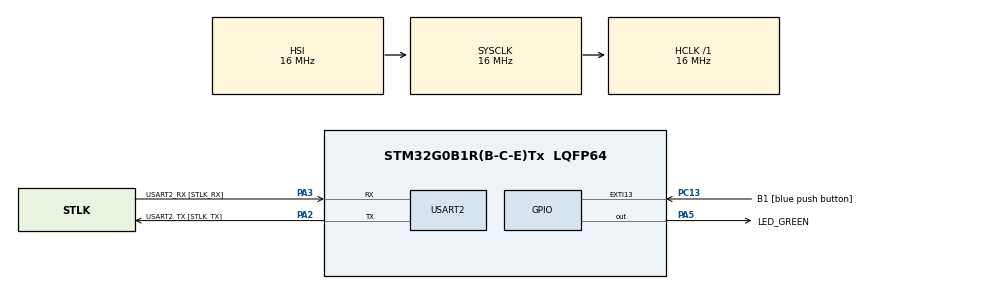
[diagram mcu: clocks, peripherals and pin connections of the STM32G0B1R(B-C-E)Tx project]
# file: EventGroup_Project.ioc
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FREERTOS.Events01=MyEventFlags,Dynamic,NULL
FREERTOS.Tasks01=defaultTask,24,128,StartDefaultTask,Default,NULL,Dynamic,NULL,NULL;BitSetterTask1,8,128,StartBitSetterTask1,Default,NULL,Dynamic,NULL,NULL;BitSetterTask2,8,128,StartBitSetterTask2,Default,NULL,Dynamic,NULL,NULL;BitReaderTask,40,128,StartBitReaderTask,Default,NULL,Dynamic,NULL,NULL
FREERTOS.configTOTAL_HEAP_SIZE=15360
FREERTOS.configUSE_NEWLIB_REENTRANT=1
Mcu.Family=STM32G0
Mcu.Name=STM32G0B1R(B-C-E)Tx
Mcu.Package=LQFP64
NVIC.TIM6_DAC_LPTIM1_IRQn=true\:3\:0\:false\:false\:true\:false\:false\:true\:true
NVIC.TimeBase=TIM6_DAC_LPTIM1_IRQn
NVIC.TimeBaseIP=TIM6
PA13.GPIO_Label=TMS
PA13.Mode=Serial_Wire
PA13.Signal=SYS_SWDIO
PA14-BOOT0.GPIO_Label=TCK
PA14-BOOT0.Mode=Serial_Wire
PA14-BOOT0.Signal=SYS_SWCLK
PA2.GPIO_Label=USART2_TX [STLK_TX]
PA2.Mode=Asynchronous
PA2.Signal=USART2_TX
PA3.GPIO_Label=USART2_RX [STLK_RX]
PA3.Mode=Asynchronous
PA3.Signal=USART2_RX
PA5.GPIO_Label=LED_GREEN
PA5.GPIO_Speed=GPIO_SPEED_FREQ_HIGH
PA5.Signal=GPIO_Output
PC13.GPIO_Label=B1 [blue push button]
PC13.Signal=GPXTI13
PC14-OSC32_IN\ (PC14).Mode=LSE-External-Oscillator
PC14-OSC32_IN\ (PC14).Signal=RCC_OSC32_IN
PC15-OSC32_OUT\ (PC15).Mode=LSE-External-Oscillator
PC15-OSC32_OUT\ (PC15).Signal=RCC_OSC32_OUT
PF0-OSC_IN\ (PF0).GPIO_Label=MCO
PF0-OSC_IN\ (PF0).Mode=HSE-External-Clock-Source
PF0-OSC_IN\ (PF0).Signal=RCC_OSC_IN
ProjectManager.HeapSize=0x200
ProjectManager.StackSize=0x400
ProjectManager.TargetToolchain=STM32CubeIDE
RCC.AHBFreq_Value=16000000
RCC.CortexFreq_Value=16000000
RCC.EXTERNAL_CLOCK_VALUE=12288000
RCC.HCLKFreq_Value=16000000
RCC.HSE_VALUE=8000000
RCC.HSI48_VALUE=48000000
RCC.HSI_VALUE=16000000
RCC.SYSCLKFreq_VALUE=16000000
RCC.USBFreq_Value=48000000
RCC.VCOOutputFreq_Value=128000000
USART2.VirtualMode-Asynchronous=VM_ASYNC
VP_FREERTOS_VS_CMSIS_V2.Mode=CMSIS_V2
VP_SYS_VS_DBSignals.Mode=DisableDeadBatterySignals
VP_SYS_VS_tim6.Mode=TIM6
board=NUCLEO-G0B1RE

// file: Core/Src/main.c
/* USER CODE BEGIN Header */
/**
 ******************************************************************************
 * @file           : main.c
 * @brief          : Main program body
 ******************************************************************************
 * @attention
 *
 * Copyright (c) 2026 STMicroelectronics.
 * All rights reserved.
 *
 * This software is licensed under terms that can be found in the LICENSE file
 * in the root directory of this software component.
 * If no LICENSE file comes with this software, it is provided AS-IS.
 *
 ******************************************************************************
 */
/* USER CODE END Header */
#include "main.h"
#include "cmsis_os.h"

/* USER CODE BEGIN Includes */
#include <stdio.h>
#include <string.h>
/* USER CODE END Includes */

/* USER CODE BEGIN PD */
#define EVENT_BIT0		(1U << 0)
#define EVENT_BIT1		(1U << 1)
#define EVENT_BIT2		(1U << 2)
/* USER CODE END PD */

UART_HandleTypeDef huart2;

/* Definitions for defaultTask */
osThreadId_t defaultTaskHandle;
const osThreadAttr_t defaultTask_attributes = { .name = "defaultTask",
		.priority = (osPriority_t) osPriorityNormal, .stack_size = 128 * 4 };
/* Definitions for BitSetterTask1 */
osThreadId_t BitSetterTask1Handle;
const osThreadAttr_t BitSetterTask1_attributes = { .name = "BitSetterTask1",
		.priority = (osPriority_t) osPriorityLow, .stack_size = 128 * 4 };
/* Definitions for BitSetterTask2 */
osThreadId_t BitSetterTask2Handle;
const osThreadAttr_t BitSetterTask2_attributes = { .name = "BitSetterTask2",
		.priority = (osPriority_t) osPriorityLow, .stack_size = 128 * 4 };
/* Definitions for BitReaderTask */
osThreadId_t BitReaderTaskHandle;
const osThreadAttr_t BitReaderTask_attributes = { .name = "BitReaderTask",
		.priority = (osPriority_t) osPriorityHigh, .stack_size = 128 * 4 };
/* Definitions for MyEventFlags */
osEventFlagsId_t MyEventFlagsHandle;
const osEventFlagsAttr_t MyEventFlags_attributes = { .name = "MyEventFlags" };

void SystemClock_Config(void);
static void MX_GPIO_Init(void);
static void MX_USART2_UART_Init(void);
void StartDefaultTask(void *argument);
void StartBitSetterTask1(void *argument);
void StartBitSetterTask2(void *argument);
void StartBitReaderTask(void *argument);

/* USER CODE BEGIN 0 */
static void uart_print(const char *s) {
	HAL_UART_Transmit(&huart2, (uint8_t*) s, (uint16_t) strlen(s), 100);
}
/* USER CODE END 0 */

int main(void) {

	/* MCU Configuration--------------------------------------------------------*/

	/* Reset of all peripherals, Initializes the Flash interface and the Systick. */
	HAL_Init();

	/* Configure the system clock */
	SystemClock_Config();

	/* Initialize all configured peripherals */
	MX_GPIO_Init();
	MX_USART2_UART_Init();

	/* Init scheduler */
	osKernelInitialize();

	/* Create the thread(s) */
	/* creation of defaultTask */
	defaultTaskHandle = osThreadNew(StartDefaultTask, NULL,
			&defaultTask_attributes);

	/* creation of BitSetterTask1 */
	BitSetterTask1Handle = osThreadNew(StartBitSetterTask1, NULL,
			&BitSetterTask1_attributes);

	/* creation of BitSetterTask2 */
	BitSetterTask2Handle = osThreadNew(StartBitSetterTask2, NULL,
			&BitSetterTask2_attributes);

	/* creation of BitReaderTask */
	BitReaderTaskHandle = osThreadNew(StartBitReaderTask, NULL,
			&BitReaderTask_attributes);

	/* Create the event(s) */
	/* creation of MyEventFlags */
	MyEventFlagsHandle = osEventFlagsNew(&MyEventFlags_attributes);

	/* Start scheduler */
	osKernelStart();

	/* We should never get here as control is now taken by the scheduler */

	/* Infinite loop */
	while (1) {

	}
}

void SystemClock_Config(void) {
	RCC_OscInitTypeDef RCC_OscInitStruct = { 0 };
	RCC_ClkInitTypeDef RCC_ClkInitStruct = { 0 };

	/** Configure the main internal regulator output voltage
	 */
	HAL_PWREx_ControlVoltageScaling(PWR_REGULATOR_VOLTAGE_SCALE1);

	/** Initializes the RCC Oscillators according to the specified parameters
	 * in the RCC_OscInitTypeDef structure.
	 */
	RCC_OscInitStruct.OscillatorType = RCC_OSCILLATORTYPE_HSI;
	RCC_OscInitStruct.HSIState = RCC_HSI_ON;
	RCC_OscInitStruct.HSIDiv = RCC_HSI_DIV1;
	RCC_OscInitStruct.HSICalibrationValue = RCC_HSICALIBRATION_DEFAULT;
	RCC_OscInitStruct.PLL.PLLState = RCC_PLL_NONE;
	if (HAL_RCC_OscConfig(&RCC_OscInitStruct) != HAL_OK) {
		Error_Handler();
	}

	/** Initializes the CPU, AHB and APB buses clocks
	 */
	RCC_ClkInitStruct.ClockType = RCC_CLOCKTYPE_HCLK | RCC_CLOCKTYPE_SYSCLK
			| RCC_CLOCKTYPE_PCLK1;
	RCC_ClkInitStruct.SYSCLKSource = RCC_SYSCLKSOURCE_HSI;
	RCC_ClkInitStruct.AHBCLKDivider = RCC_SYSCLK_DIV1;
	RCC_ClkInitStruct.APB1CLKDivider = RCC_HCLK_DIV1;

	if (HAL_RCC_ClockConfig(&RCC_ClkInitStruct, FLASH_LATENCY_0) != HAL_OK) {
		Error_Handler();
	}
}

static void MX_USART2_UART_Init(void) {

	huart2.Instance = USART2;
	huart2.Init.BaudRate = 115200;
	huart2.Init.WordLength = UART_WORDLENGTH_8B;
	huart2.Init.StopBits = UART_STOPBITS_1;
	huart2.Init.Parity = UART_PARITY_NONE;
	huart2.Init.Mode = UART_MODE_TX_RX;
	huart2.Init.HwFlowCtl = UART_HWCONTROL_NONE;
	huart2.Init.OverSampling = UART_OVERSAMPLING_16;
	huart2.Init.OneBitSampling = UART_ONE_BIT_SAMPLE_DISABLE;
	huart2.Init.ClockPrescaler = UART_PRESCALER_DIV1;
	huart2.AdvancedInit.AdvFeatureInit = UART_ADVFEATURE_NO_INIT;
	if (HAL_UART_Init(&huart2) != HAL_OK) {
		Error_Handler();
	}
	if (HAL_UARTEx_SetTxFifoThreshold(&huart2, UART_TXFIFO_THRESHOLD_1_8)
			!= HAL_OK) {
		Error_Handler();
	}
	if (HAL_UARTEx_SetRxFifoThreshold(&huart2, UART_RXFIFO_THRESHOLD_1_8)
			!= HAL_OK) {
		Error_Handler();
	}
	if (HAL_UARTEx_DisableFifoMode(&huart2) != HAL_OK) {
		Error_Handler();
	}

}

static void MX_GPIO_Init(void) {
	GPIO_InitTypeDef GPIO_InitStruct = { 0 };

	/* GPIO Ports Clock Enable */
	__HAL_RCC_GPIOC_CLK_ENABLE();
	__HAL_RCC_GPIOF_CLK_ENABLE();
	__HAL_RCC_GPIOA_CLK_ENABLE();

	/*Configure GPIO pin Output Level */
	HAL_GPIO_WritePin(LED_GREEN_GPIO_Port, LED_GREEN_Pin, GPIO_PIN_RESET);

	/*Configure GPIO pin : B1_Pin */
	GPIO_InitStruct.Pin = B1_Pin;
	GPIO_InitStruct.Mode = GPIO_MODE_IT_RISING;
	GPIO_InitStruct.Pull = GPIO_NOPULL;
	HAL_GPIO_Init(B1_GPIO_Port, &GPIO_InitStruct);

	/*Configure GPIO pin : LED_GREEN_Pin */
	GPIO_InitStruct.Pin = LED_GREEN_Pin;
	GPIO_InitStruct.Mode = GPIO_MODE_OUTPUT_PP;
	GPIO_InitStruct.Pull = GPIO_NOPULL;
	GPIO_InitStruct.Speed = GPIO_SPEED_FREQ_HIGH;
	HAL_GPIO_Init(LED_GREEN_GPIO_Port, &GPIO_InitStruct);

}

void StartDefaultTask(void *argument) {
	for (;;) {
		osDelay(1);
	}
}

void StartBitSetterTask1(void *argument) {
	/* USER CODE BEGIN StartBitSetterTask1 */
	/* Infinite loop */
	for (;;) {
		uart_print("[Setter1] BIT0 Set\r\n");
		osEventFlagsSet(MyEventFlagsHandle, EVENT_BIT0);

		osDelay(3000);
	}
	/* USER CODE END StartBitSetterTask1 */
}

void StartBitSetterTask2(void *argument) {
	/* USER CODE BEGIN StartBitSetterTask2 */
	/* Infinite loop */
	for (;;) {
		osDelay(1000);

		uart_print("[Setter2] BIT1 Set\r\n");
		osEventFlagsSet(MyEventFlagsHandle, EVENT_BIT1);

		osDelay(1000);

		uart_print("[Setter2] BIT2 Set\r\n");
		osEventFlagsSet(MyEventFlagsHandle, EVENT_BIT2);

		osDelay(1000);
	}
	/* USER CODE END StartBitSetterTask2 */
}

void StartBitReaderTask(void *argument) {
	/* USER CODE BEGIN StartBitReaderTask */
	uint32_t flags;
	uint32_t currentFlags;
	char msg[64];
	/* Infinite loop */
	for (;;) {
		flags = osEventFlagsWait(MyEventFlagsHandle,
								EVENT_BIT0 | EVENT_BIT1 | EVENT_BIT2,
								osFlagsWaitAny | osFlagsNoClear,
								osWaitForever);

		if (flags & EVENT_BIT0) {
			uart_print("[BitReader] BIT0 Detected \r\n");
		}
		if (flags & EVENT_BIT1) {
			uart_print("[BitReader] BIT1 Detected \r\n");
		}
		if (flags & EVENT_BIT2) {
			uart_print("[BitReader] BIT2 Detected \r\n");
		}

		currentFlags = osEventFlagsGet(MyEventFlagsHandle);

		snprintf(msg, sizeof(msg),
				"[BitReader] Before Clear : 0x%02lX \r\n",
				(unsigned long)currentFlags);
		uart_print(msg);

		osEventFlagsClear(MyEventFlagsHandle, EVENT_BIT0 | EVENT_BIT1 | EVENT_BIT2);

		currentFlags = osEventFlagsGet(MyEventFlagsHandle);

		snprintf(msg, sizeof(msg),
				"[BitReader] After Clear : 0x%02lX \r\n",
				(unsigned long) currentFlags);
		uart_print(msg);
	}
	/* USER CODE END StartBitReaderTask */
}

void HAL_TIM_PeriodElapsedCallback(TIM_HandleTypeDef *htim) {
	if (htim->Instance == TIM6) {
		HAL_IncTick();
	}
}

void Error_Handler(void) {
	__disable_irq();
	while (1) {
	}
}
